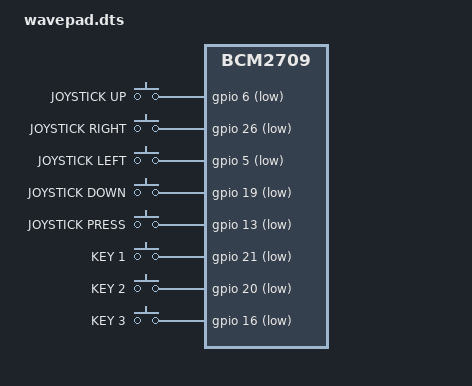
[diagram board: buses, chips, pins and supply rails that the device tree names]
/dts-v1/; 
/plugin/; 
/ { 

	compatible = "brcm,bcm2835", "brcm,bcm2708", "brcm,bcm2709";

	fragment@0 {
		target-path = "/";
		__overlay__ {
			keypad: waveshare_keys {
				compatible = "gpio-keys";
				#address-cells = <1>;
				#size-cells = <0>;
				#autorepeat;
				button@6 {
					label = "JOYSTICK UP";
					linux,code = <103>;
					gpios = <&gpio 6 1>;
				};
				button@26 {
					label = "JOYSTICK RIGHT";
					linux,code = <106>;
					gpios = <&gpio 26 1>;
				};
				button@5 {
					label = "JOYSTICK LEFT";
					linux,code = <105>;
					gpios = <&gpio 5 1>;
				};
				button@19 {
					label = "JOYSTICK DOWN";
					linux,code = <108>;
					gpios = <&gpio 19 1>;
				};
				button@13 {
					label = "JOYSTICK PRESS";
					linux,code = <28>;
					gpios = <&gpio 13 1>;
				};
				button@21 {
					label = "KEY 1";
					linux,code = <30>;
					gpios = <&gpio 21 1>;
				};
				button@20 {
					label = "KEY 2";
					linux,code = <48>;
					gpios = <&gpio 20 1>;
				};
				button@16 {
					label = "KEY 3";
					linux,code = <46>;
					gpios = <&gpio 16 1>;
				};
			};
		};
	};
};
